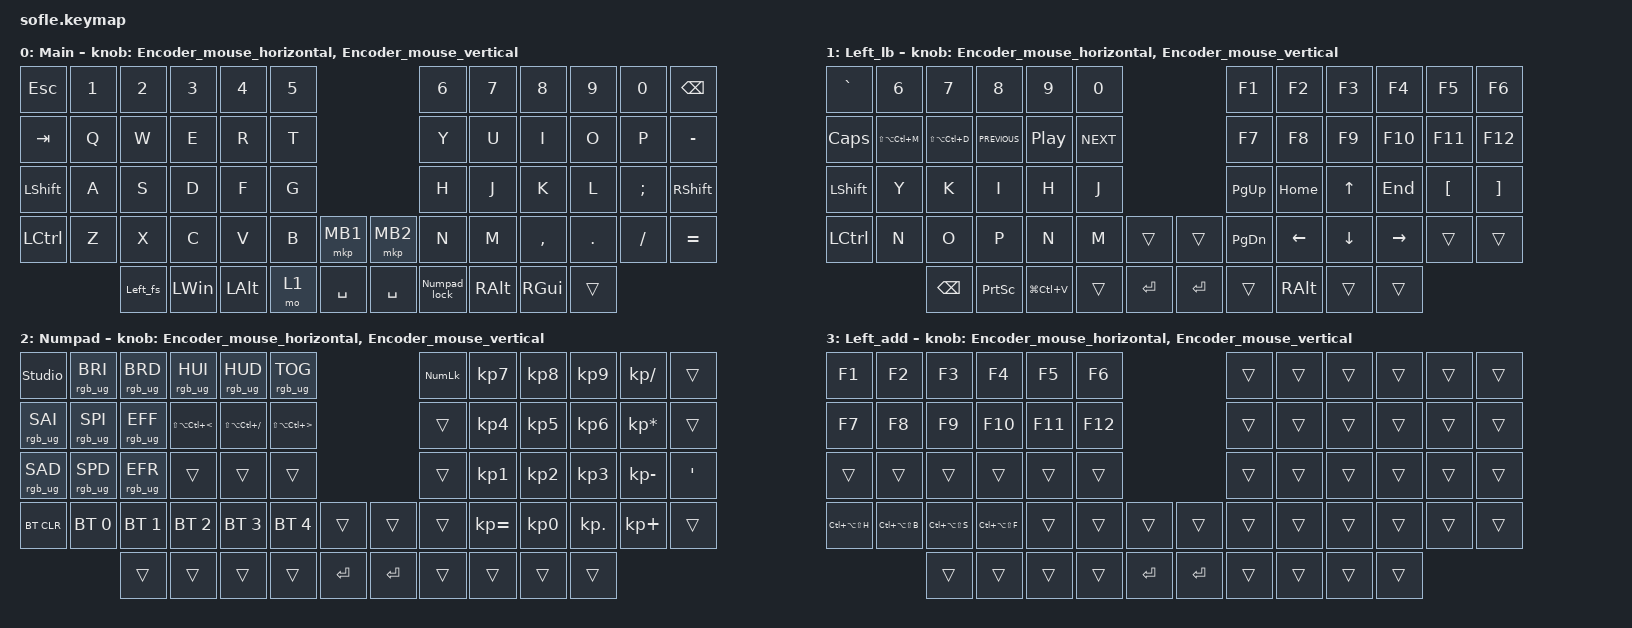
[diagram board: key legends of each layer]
/*
 * Copyright (c) 2020 The ZMK Contributors
 *
 * SPDX-License-Identifier: MIT
 */

#include <behaviors.dtsi>
#include <dt-bindings/zmk/bt.h>
#include <dt-bindings/zmk/keys.h>
#include <dt-bindings/zmk/pointing.h>
#include <dt-bindings/zmk/rgb.h>

&led_strip { chain-length = <29>; };

/ {
    combos {
        compatible = "zmk,combos";

        Left_br {
            bindings = <&kp LEFT_BRACKET>;
            key-positions = <21 22>;
        };

        Right_br {
            bindings = <&kp RIGHT_BRACKET>;
            key-positions = <22 23>;
        };

        Sqt {
            bindings = <&kp SQT>;
            key-positions = <33 34>;
        };

        Grave {
            bindings = <&kp GRAVE>;
            key-positions = <17 16>;
        };

        Slash {
            bindings = <&kp KP_SLASH>;
            key-positions = <49 48>;
        };

        Backslash {
            bindings = <&kp BACKSLASH>;
            key-positions = <48 47>;
        };
    };

    behaviors {
        Numpad_lock: Numpad_lock {
            compatible = "zmk,behavior-tap-dance";
            label = "NUMPAD_LOCK";
            #binding-cells = <0>;
            bindings = <&mo 2>, <&tog 2>;
        };

        Left_fs: Left_fs {
            compatible = "zmk,behavior-tap-dance";
            label = "LEFT_FS";
            #binding-cells = <0>;
            bindings = <&kp DELETE>, <&mo 3>;
        };

        Encoder_mouse_horizontal: Encoder_mouse_horizontal {
            compatible = "zmk,behavior-sensor-rotate";
            label = "ENCODER_MOUSE_HORIZONTAL";
            #sensor-binding-cells = <0>;
            bindings = <&mmv MOVE_X(-750)>, <&mmv MOVE_X(750)>;

            tap-ms = <100>;
        };

        Encoder_mouse_vertical: Encoder_mouse_vertical {
            compatible = "zmk,behavior-sensor-rotate";
            label = "ENCODER_MOUSE_VERTICAL";
            #sensor-binding-cells = <0>;
            bindings = <&mmv MOVE_Y(750)>, <&mmv MOVE_Y(-750)>;

            tap-ms = <100>;
        };
    };

    keymap {
        compatible = "zmk,keymap";

        Main {
            label = "Main";
            bindings = <
&kp ESCAPE      &kp N1  &kp N2    &kp N3        &kp N4        &kp N5                          &kp N6        &kp N7         &kp N8         &kp N9   &kp N0    &kp BACKSPACE
&kp TAB         &kp Q   &kp W     &kp E         &kp R         &kp T                           &kp Y         &kp U          &kp I          &kp O    &kp P     &kp MINUS
&kp LEFT_SHIFT  &kp A   &kp S     &kp D         &kp F         &kp G                           &kp H         &kp J          &kp K          &kp L    &kp SEMI  &kp RIGHT_SHIFT
&kp LCTRL       &kp Z   &kp X     &kp C         &kp V         &kp B   &mkp MB1     &mkp MB2   &kp N         &kp M          &kp COMMA      &kp DOT  &kp FSLH  &kp EQUAL
                        &Left_fs  &kp LEFT_WIN  &kp LEFT_ALT  &mo 1   &kp SPACE    &kp SPACE  &Numpad_lock  &kp RIGHT_ALT  &kp RIGHT_GUI  &trans
            >;

            sensor-bindings =
                <&Encoder_mouse_horizontal>,
                <&Encoder_mouse_vertical>;
        };

        Left_lb {
            label = "Left_lb";
            bindings = <
&kp GRAVE         &kp NUMBER_6       &kp N7             &kp N8           &kp NUMBER_9      &kp NUMBER_0                          &kp F1         &kp F2          &kp F3          &kp F4           &kp F5            &kp F6
&kp CAPS          &kp LS(LA(LC(M)))  &kp LS(LA(LC(D)))  &kp C_PREVIOUS   &kp C_PLAY_PAUSE  &kp C_NEXT                            &kp F7         &kp F8          &kp F9          &kp F10          &kp F11           &kp F12
&kp LEFT_SHIFT    &kp Y              &kp K              &kp I            &kp H             &kp J                                 &kp PAGE_UP    &kp HOME        &kp UP_ARROW    &kp END          &kp LEFT_BRACKET  &kp RIGHT_BRACKET
&kp LEFT_CONTROL  &kp N              &kp O              &kp P            &kp N             &kp M         &trans       &trans     &kp PAGE_DOWN  &kp LEFT_ARROW  &kp DOWN_ARROW  &kp RIGHT_ARROW  &trans            &trans
                                     &kp BACKSPACE      &kp PRINTSCREEN  &kp LG(LC(V))     &trans        &kp ENTER    &kp ENTER  &trans         &kp RIGHT_ALT   &trans          &trans
            >;

            sensor-bindings =
                <&Encoder_mouse_horizontal>,
                <&Encoder_mouse_vertical>;
        };

        Numpad {
            label = "Numpad";
            bindings = <
&studio_unlock   &rgb_ug RGB_BRI  &rgb_ug RGB_BRD  &rgb_ug RGB_HUI            &rgb_ug RGB_HUD        &rgb_ug RGB_TOG                                       &kp KP_NUMLOCK  &kp KP_NUMBER_7  &kp KP_NUMBER_8  &kp KP_NUMBER_9  &kp KP_DIVIDE    &trans
&rgb_ug RGB_SAI  &rgb_ug RGB_SPI  &rgb_ug RGB_EFF  &kp LS(LA(LC(LESS_THAN)))  &kp LS(LA(LC(SLASH)))  &kp LS(LA(LC(GREATER_THAN)))                          &trans          &kp KP_NUMBER_4  &kp KP_NUMBER_5  &kp KP_NUMBER_6  &kp KP_MULTIPLY  &trans
&rgb_ug RGB_SAD  &rgb_ug RGB_SPD  &rgb_ug RGB_EFR  &trans                     &trans                 &trans                                                &trans          &kp KP_NUMBER_1  &kp KP_NUMBER_2  &kp KP_NUMBER_3  &kp KP_SUBTRACT  &kp SINGLE_QUOTE
&bt BT_CLR       &bt BT_SEL 0     &bt BT_SEL 1     &bt BT_SEL 2               &bt BT_SEL 3           &bt BT_SEL 4                  &trans       &trans     &trans          &kp KP_EQUAL     &kp KP_NUMBER_0  &kp KP_DOT       &kp KP_PLUS      &trans
                                  &trans           &trans                     &trans                 &trans                        &kp ENTER    &kp ENTER  &trans          &trans           &trans           &trans
            >;

            sensor-bindings =
                <&Encoder_mouse_horizontal>,
                <&Encoder_mouse_vertical>;
        };

        Left_add {
            label = "Left_add";
            bindings = <
&kp F1             &kp F2             &kp F3             &kp F4             &kp F5   &kp F6                           &trans  &trans  &trans  &trans  &trans  &trans
&kp F7             &kp F8             &kp F9             &kp F10            &kp F11  &kp F12                          &trans  &trans  &trans  &trans  &trans  &trans
&trans             &trans             &trans             &trans             &trans   &trans                           &trans  &trans  &trans  &trans  &trans  &trans
&kp LC(LA(LS(H)))  &kp LC(LA(LS(B)))  &kp LC(LA(LS(S)))  &kp LC(LA(LS(F)))  &trans   &trans   &trans       &trans     &trans  &trans  &trans  &trans  &trans  &trans
                                      &trans             &trans             &trans   &trans   &kp ENTER    &kp ENTER  &trans  &trans  &trans  &trans
            >;

            sensor-bindings =
                <&Encoder_mouse_horizontal>,
                <&Encoder_mouse_vertical>;
        };

        reserved1 {
            status = "reserved";
            bindings = <
&trans  &trans  &trans  &trans  &trans  &trans                    &trans  &trans  &trans  &trans  &trans  &trans
&trans  &trans  &trans  &trans  &trans  &trans                    &trans  &trans  &trans  &trans  &trans  &trans
&trans  &trans  &trans  &trans  &trans  &trans                    &trans  &trans  &trans  &trans  &trans  &trans
&trans  &trans  &trans  &trans  &trans  &trans  &trans    &trans  &trans  &trans  &trans  &trans  &trans  &trans
                &trans  &trans  &trans  &trans  &trans    &trans  &trans  &trans  &trans  &trans
            >;
        };

        reserved2 {
            status = "reserved";
            bindings = <
&trans  &trans  &trans  &trans  &trans  &trans                    &trans  &trans  &trans  &trans  &trans  &trans
&trans  &trans  &trans  &trans  &trans  &trans                    &trans  &trans  &trans  &trans  &trans  &trans
&trans  &trans  &trans  &trans  &trans  &trans                    &trans  &trans  &trans  &trans  &trans  &trans
&trans  &trans  &trans  &trans  &trans  &trans  &trans    &trans  &trans  &trans  &trans  &trans  &trans  &trans
                &trans  &trans  &trans  &trans  &trans    &trans  &trans  &trans  &trans  &trans
            >;
        };

        reserved3 {
            status = "reserved";
            bindings = <
&trans  &trans  &trans  &trans  &trans  &trans                    &trans  &trans  &trans  &trans  &trans  &trans
&trans  &trans  &trans  &trans  &trans  &trans                    &trans  &trans  &trans  &trans  &trans  &trans
&trans  &trans  &trans  &trans  &trans  &trans                    &trans  &trans  &trans  &trans  &trans  &trans
&trans  &trans  &trans  &trans  &trans  &trans  &trans    &trans  &trans  &trans  &trans  &trans  &trans  &trans
                &trans  &trans  &trans  &trans  &trans    &trans  &trans  &trans  &trans  &trans
            >;
        };
    };
};
